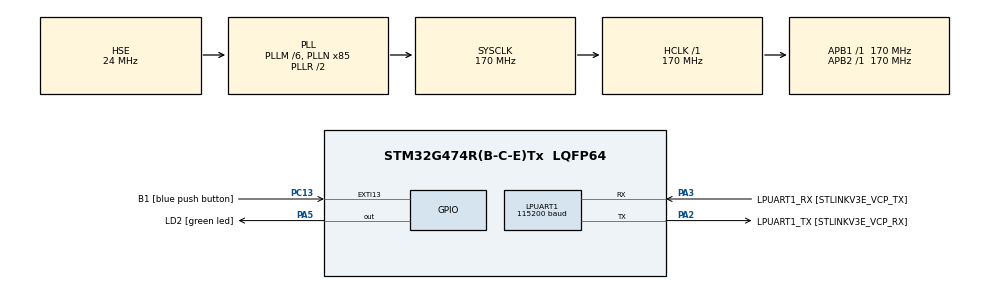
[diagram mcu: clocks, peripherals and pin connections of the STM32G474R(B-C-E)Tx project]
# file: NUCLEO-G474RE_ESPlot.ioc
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Mcu.Family=STM32G4
Dma.LPUART1_TX.1.SyncEnable=DISABLE
RCC.CortexFreq_Value=170000000
Dma.LPUART1_RX.0.RequestNumber=1
PA14.GPIO_Label=T_SWCLK
Dma.LPUART1_TX.1.Instance=DMA1_Channel2
LPUART1.WordLength=UART_WORDLENGTH_8B
Dma.LPUART1_RX.0.Direction=DMA_PERIPH_TO_MEMORY
PC13.GPIO_Label=B1 [blue push button]
Dma.LPUART1_TX.1.SyncPolarity=HAL_DMAMUX_SYNC_NO_EVENT
RCC.SYSCLKSource=RCC_SYSCLKSOURCE_PLLCLK
ProjectManager.StackSize=0x400
Dma.LPUART1_TX.1.PeriphInc=DMA_PINC_DISABLE
RCC.HCLKFreq_Value=170000000
RCC.APB2TimFreq_Value=170000000
RCC.AHBFreq_Value=170000000
NVIC.EXTI15_10_IRQn=true\:0\:0\:false\:false\:true\:true\:true
Dma.LPUART1_RX.0.PeriphDataAlignment=DMA_PDATAALIGN_BYTE
Dma.LPUART1_RX.0.Polarity=HAL_DMAMUX_REQ_GEN_RISING
RCC.HSE_VALUE=24000000
PB3.Mode=Trace_Asynchronous_SW
Dma.LPUART1_RX.0.MemInc=DMA_MINC_ENABLE
RCC.ADC12Freq_Value=170000000
RCC.RTCClockSelection=RCC_RTCCLKSOURCE_LSE
Dma.LPUART1_RX.0.SyncRequestNumber=1
Dma.LPUART1_RX.0.SyncPolarity=HAL_DMAMUX_SYNC_NO_EVENT
Dma.LPUART1_RX.0.SyncEnable=DISABLE
Dma.LPUART1_TX.1.Direction=DMA_MEMORY_TO_PERIPH
PC14-OSC32_IN.Mode=LSE-External-Oscillator
Dma.LPUART1_TX.1.RequestNumber=1
PA14.Mode=Trace_Asynchronous_SW
VP_SYS_VS_DBSignals.Mode=DisableDeadBatterySignals
Dma.LPUART1_RX.0.Priority=DMA_PRIORITY_LOW
Dma.LPUART1_RX.0.EventEnable=DISABLE
Mcu.Package=LQFP64
Dma.LPUART1_RX.0.Mode=DMA_CIRCULAR
Dma.LPUART1_TX.1.MemDataAlignment=DMA_MDATAALIGN_BYTE
PA2.GPIO_Label=LPUART1_TX [STLINKV3E_VCP_RX]
Dma.LPUART1_TX.1.SyncRequestNumber=1
Dma.LPUART1_RX.0.SignalID=NONE
Dma.LPUART1_RX.0.SyncSignalID=NONE
Dma.Request1=LPUART1_TX
RCC.APB1TimFreq_Value=170000000
Dma.LPUART1_TX.1.Polarity=HAL_DMAMUX_REQ_GEN_RISING
PF1-OSC_OUT.Mode=HSE-External-Oscillator
Dma.Request0=LPUART1_RX
PF1-OSC_OUT.Signal=RCC_OSC_OUT
RCC.HSI48_VALUE=48000000
PA3.Signal=LPUART1_RX
PB3.GPIO_Label=T_SWO
RCC.PLLSourceVirtual=RCC_PLLSOURCE_HSE
PC15-OSC32_OUT.Mode=LSE-External-Oscillator
PC13.Signal=GPXTI13
Dma.LPUART1_TX.1.Mode=DMA_CIRCULAR
Dma.LPUART1_RX.0.MemDataAlignment=DMA_MDATAALIGN_BYTE
RCC.EXTERNAL_CLOCK_VALUE=12288000
PC14-OSC32_IN.Signal=RCC_OSC32_IN
Dma.LPUART1_RX.0.Instance=DMA1_Channel1
Dma.LPUART1_TX.1.MemInc=DMA_MINC_ENABLE
Dma.LPUART1_RX.0.PeriphInc=DMA_PINC_DISABLE
Dma.LPUART1_TX.1.EventEnable=DISABLE
PA13.Signal=SYS_JTMS-SWDIO
PA3.Mode=Asynchronous
NVIC.DMA1_Channel2_IRQn=true\:0\:0\:false\:false\:true\:false\:true
ProjectManager.TargetToolchain=STM32CubeIDE
Dma.LPUART1_TX.1.PeriphDataAlignment=DMA_PDATAALIGN_BYTE
RCC.USBFreq_Value=170000000
PC15-OSC32_OUT.Signal=RCC_OSC32_OUT
PF0-OSC_IN.Mode=HSE-External-Oscillator
PA5.Signal=GPIO_Output
board=NUCLEO-G474RE
RCC.VCOOutputFreq_Value=340000000
RCC.ADC345Freq_Value=170000000
RCC.APB2Freq_Value=170000000
Dma.LPUART1_TX.1.SignalID=NONE
Dma.LPUART1_TX.1.SyncSignalID=NONE
PA13.Mode=Trace_Asynchronous_SW
Mcu.Name=STM32G474R(B-C-E)Tx
LPUART1.BaudRate=115200
PA13.GPIO_Label=T_SWDIO
PA2.Signal=LPUART1_TX
Dma.LPUART1_TX.1.Priority=DMA_PRIORITY_LOW
PB3.Signal=SYS_JTDO-SWO
RCC.SYSCLKFreq_VALUE=170000000
PA5.GPIO_Label=LD2 [green led]
PA14.Signal=SYS_JTCK-SWCLK
ProjectManager.HeapSize=0x200
RCC.HSI_VALUE=16000000
NVIC.PriorityGroup=NVIC_PRIORITYGROUP_4
RCC.PLLM=RCC_PLLM_DIV6
RCC.PLLN=85
PA2.Mode=Asynchronous
NVIC.DMA1_Channel1_IRQn=true\:0\:0\:false\:false\:true\:false\:true
PF0-OSC_IN.Signal=RCC_OSC_IN
RCC.APB1Freq_Value=170000000
PA3.GPIO_Label=LPUART1_RX [STLINKV3E_VCP_TX]

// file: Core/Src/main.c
/* USER CODE BEGIN Header */
/**
  ******************************************************************************
  * @file           : main.c
  * @brief          : Main program body
  ******************************************************************************
  * @attention
  *
  * <h2><center>&copy; Copyright (c) 2021 STMicroelectronics.
  * All rights reserved.</center></h2>
  *
  * This software component is licensed by ST under BSD 3-Clause license,
  * the "License"; You may not use this file except in compliance with the
  * License. You may obtain a copy of the License at:
  *                        opensource.org/licenses/BSD-3-Clause
  *
  ******************************************************************************
  */
/* USER CODE END Header */
#include "main.h"

/* USER CODE BEGIN Includes */

#include "comm_prot.h"
#include "math.h"

/* USER CODE END Includes */

UART_HandleTypeDef hlpuart1;
DMA_HandleTypeDef hdma_lpuart1_rx;
DMA_HandleTypeDef hdma_lpuart1_tx;

/* USER CODE BEGIN PV */

// Structure of the USB Protocol
volatile comm_prot USB_COMM;

/* USER CODE END PV */

void SystemClock_Config(void);
static void MX_GPIO_Init(void);
static void MX_DMA_Init(void);
static void MX_LPUART1_UART_Init(void);

int main(void)
{

  /* MCU Configuration--------------------------------------------------------*/

  /* Reset of all peripherals, Initializes the Flash interface and the Systick. */
  HAL_Init();

  /* Configure the system clock */
  SystemClock_Config();

  /* Initialize all configured peripherals */
  MX_GPIO_Init();
  MX_DMA_Init();
  MX_LPUART1_UART_Init();
  /* USER CODE BEGIN 2 */

  //Initialize the USB protocol
  comm_prot_init_struct(&USB_COMM);

  //Set rx signals
  comm_prot_set_rx_data_info(&USB_COMM, 0, "LED1");

  //Set tx signals
  comm_prot_set_tx_data_info(&USB_COMM, 0, SCALING_FACTOR_APPLIED, TYPE_UINT8,  "Test UINT8", 		PLOT_NR_1, 1.0, 4, BLACK);
  comm_prot_set_tx_data_info(&USB_COMM, 1, SCALING_FACTOR_APPLIED, TYPE_INT8,   "Test INT8", 			PLOT_NR_1, 2.0, 4, BLUE);
  comm_prot_set_tx_data_info(&USB_COMM, 2, SCALING_FACTOR_APPLIED, TYPE_UINT16, "Test UINT16", 		PLOT_NR_2, 3.14, 4, RED);
  comm_prot_set_tx_data_info(&USB_COMM, 3, SCALING_FACTOR_APPLIED, TYPE_INT16,  "Test INT16", 		PLOT_NR_2, 4.0, 4, RANDOM);
  comm_prot_set_tx_data_info(&USB_COMM, 4, SCALING_FACTOR_APPLIED, TYPE_UINT32, "Test UINT32", 		PLOT_NR_3, 2.0, 4, BLUE);
  comm_prot_set_tx_data_info(&USB_COMM, 5, SCALING_FACTOR_APPLIED, TYPE_INT32,  "Test INT32", 		PLOT_NR_3, 3.0, 4, RED);
  comm_prot_set_tx_data_info(&USB_COMM, 6, SCALING_FACTOR_APPLIED, TYPE_FLOAT,  "Test FLOAT", 		PLOT_NR_4, 1/3.14, 4, RANDOM);
  comm_prot_set_tx_data_info(&USB_COMM, 7, SCALING_FACTOR_NOT_APPLIED, TYPE_FLOAT, "Harmonic signal", PLOT_NR_5, 1.0, 4, BLACK);
  comm_prot_init_comm(&USB_COMM);

  //Initiate first transfer to set all the settings
//  HAL_SPI_TransmitReceive_DMA(SPI_HandleTypeDef *hspi, uint8_t *pTxData, uint8_t *pRxData,
//                                                uint16_t Size)
//  HAL_SPI_TransmitReceive_DMA(&hspi3, (uint8_t*) USB_COMM.tx_i_buff, (uint8_t*) USB_COMM.rx_d_buff, (uint16_t) USB_COMM.buff_dimension_info);

  if (HAL_OK != HAL_UART_Transmit_DMA(&hlpuart1, (uint8_t*) USB_COMM.tx_i_buff, (uint16_t) USB_COMM.buff_dimension_info))
  {
	  Error_Handler();
  };

  /* USER CODE END 2 */

  /* Infinite loop */
  /* USER CODE BEGIN WHILE */
  while (1)
  {
	  HAL_Delay(2000);
	  comm_prot_set_cmd(&USB_COMM, RECORD_CMD);
      HAL_Delay(2000);
	  comm_prot_set_cmd(&USB_COMM, NO_CMD);

    /* USER CODE END WHILE */

  }
}

void SystemClock_Config(void)
{
  RCC_OscInitTypeDef RCC_OscInitStruct = {0};
  RCC_ClkInitTypeDef RCC_ClkInitStruct = {0};
  RCC_PeriphCLKInitTypeDef PeriphClkInit = {0};

  /** Configure the main internal regulator output voltage
  */
  HAL_PWREx_ControlVoltageScaling(PWR_REGULATOR_VOLTAGE_SCALE1_BOOST);
  /** Initializes the RCC Oscillators according to the specified parameters
  * in the RCC_OscInitTypeDef structure.
  */
  RCC_OscInitStruct.OscillatorType = RCC_OSCILLATORTYPE_HSE;
  RCC_OscInitStruct.HSEState = RCC_HSE_ON;
  RCC_OscInitStruct.PLL.PLLState = RCC_PLL_ON;
  RCC_OscInitStruct.PLL.PLLSource = RCC_PLLSOURCE_HSE;
  RCC_OscInitStruct.PLL.PLLM = RCC_PLLM_DIV6;
  RCC_OscInitStruct.PLL.PLLN = 85;
  RCC_OscInitStruct.PLL.PLLP = RCC_PLLP_DIV2;
  RCC_OscInitStruct.PLL.PLLQ = RCC_PLLQ_DIV2;
  RCC_OscInitStruct.PLL.PLLR = RCC_PLLR_DIV2;
  if (HAL_RCC_OscConfig(&RCC_OscInitStruct) != HAL_OK)
  {
    Error_Handler();
  }
  /** Initializes the CPU, AHB and APB buses clocks
  */
  RCC_ClkInitStruct.ClockType = RCC_CLOCKTYPE_HCLK|RCC_CLOCKTYPE_SYSCLK
                              |RCC_CLOCKTYPE_PCLK1|RCC_CLOCKTYPE_PCLK2;
  RCC_ClkInitStruct.SYSCLKSource = RCC_SYSCLKSOURCE_PLLCLK;
  RCC_ClkInitStruct.AHBCLKDivider = RCC_SYSCLK_DIV1;
  RCC_ClkInitStruct.APB1CLKDivider = RCC_HCLK_DIV1;
  RCC_ClkInitStruct.APB2CLKDivider = RCC_HCLK_DIV1;

  if (HAL_RCC_ClockConfig(&RCC_ClkInitStruct, FLASH_LATENCY_4) != HAL_OK)
  {
    Error_Handler();
  }
  /** Initializes the peripherals clocks
  */
  PeriphClkInit.PeriphClockSelection = RCC_PERIPHCLK_LPUART1;
  PeriphClkInit.Lpuart1ClockSelection = RCC_LPUART1CLKSOURCE_PCLK1;
  if (HAL_RCCEx_PeriphCLKConfig(&PeriphClkInit) != HAL_OK)
  {
    Error_Handler();
  }
}

static void MX_LPUART1_UART_Init(void)
{

  hlpuart1.Instance = LPUART1;
  hlpuart1.Init.BaudRate = 115200;
  hlpuart1.Init.WordLength = UART_WORDLENGTH_8B;
  hlpuart1.Init.StopBits = UART_STOPBITS_1;
  hlpuart1.Init.Parity = UART_PARITY_NONE;
  hlpuart1.Init.Mode = UART_MODE_TX_RX;
  hlpuart1.Init.HwFlowCtl = UART_HWCONTROL_NONE;
  hlpuart1.Init.OneBitSampling = UART_ONE_BIT_SAMPLE_DISABLE;
  hlpuart1.Init.ClockPrescaler = UART_PRESCALER_DIV1;
  hlpuart1.AdvancedInit.AdvFeatureInit = UART_ADVFEATURE_NO_INIT;
  if (HAL_UART_Init(&hlpuart1) != HAL_OK)
  {
    Error_Handler();
  }
  if (HAL_UARTEx_SetTxFifoThreshold(&hlpuart1, UART_TXFIFO_THRESHOLD_1_8) != HAL_OK)
  {
    Error_Handler();
  }
  if (HAL_UARTEx_SetRxFifoThreshold(&hlpuart1, UART_RXFIFO_THRESHOLD_1_8) != HAL_OK)
  {
    Error_Handler();
  }
  if (HAL_UARTEx_DisableFifoMode(&hlpuart1) != HAL_OK)
  {
    Error_Handler();
  }

}

static void MX_DMA_Init(void)
{

  /* DMA controller clock enable */
  __HAL_RCC_DMAMUX1_CLK_ENABLE();
  __HAL_RCC_DMA1_CLK_ENABLE();

  /* DMA interrupt init */
  /* DMA1_Channel1_IRQn interrupt configuration */
  HAL_NVIC_SetPriority(DMA1_Channel1_IRQn, 0, 0);
  HAL_NVIC_EnableIRQ(DMA1_Channel1_IRQn);
  /* DMA1_Channel2_IRQn interrupt configuration */
  HAL_NVIC_SetPriority(DMA1_Channel2_IRQn, 0, 0);
  HAL_NVIC_EnableIRQ(DMA1_Channel2_IRQn);

}

static void MX_GPIO_Init(void)
{
  GPIO_InitTypeDef GPIO_InitStruct = {0};

  /* GPIO Ports Clock Enable */
  __HAL_RCC_GPIOC_CLK_ENABLE();
  __HAL_RCC_GPIOF_CLK_ENABLE();
  __HAL_RCC_GPIOA_CLK_ENABLE();
  __HAL_RCC_GPIOB_CLK_ENABLE();

  /*Configure GPIO pin Output Level */
  HAL_GPIO_WritePin(LD2_GPIO_Port, LD2_Pin, GPIO_PIN_RESET);

  /*Configure GPIO pin : B1_Pin */
  GPIO_InitStruct.Pin = B1_Pin;
  GPIO_InitStruct.Mode = GPIO_MODE_IT_RISING;
  GPIO_InitStruct.Pull = GPIO_NOPULL;
  HAL_GPIO_Init(B1_GPIO_Port, &GPIO_InitStruct);

  /*Configure GPIO pin : LD2_Pin */
  GPIO_InitStruct.Pin = LD2_Pin;
  GPIO_InitStruct.Mode = GPIO_MODE_OUTPUT_PP;
  GPIO_InitStruct.Pull = GPIO_NOPULL;
  GPIO_InitStruct.Speed = GPIO_SPEED_FREQ_LOW;
  HAL_GPIO_Init(LD2_GPIO_Port, &GPIO_InitStruct);

  /* EXTI interrupt init*/
  HAL_NVIC_SetPriority(EXTI15_10_IRQn, 0, 0);
  HAL_NVIC_EnableIRQ(EXTI15_10_IRQn);

}

void Error_Handler(void)
{
  /* USER CODE BEGIN Error_Handler_Debug */
  /* User can add his own implementation to report the HAL error return state */
  __disable_irq();
  while (1)
  {
	  HAL_GPIO_WritePin(GPIOA, GPIO_PIN_5, SET);
  }
  /* USER CODE END Error_Handler_Debug */
}

/************************ (C) COPYRIGHT STMicroelectronics *****END OF FILE****/
